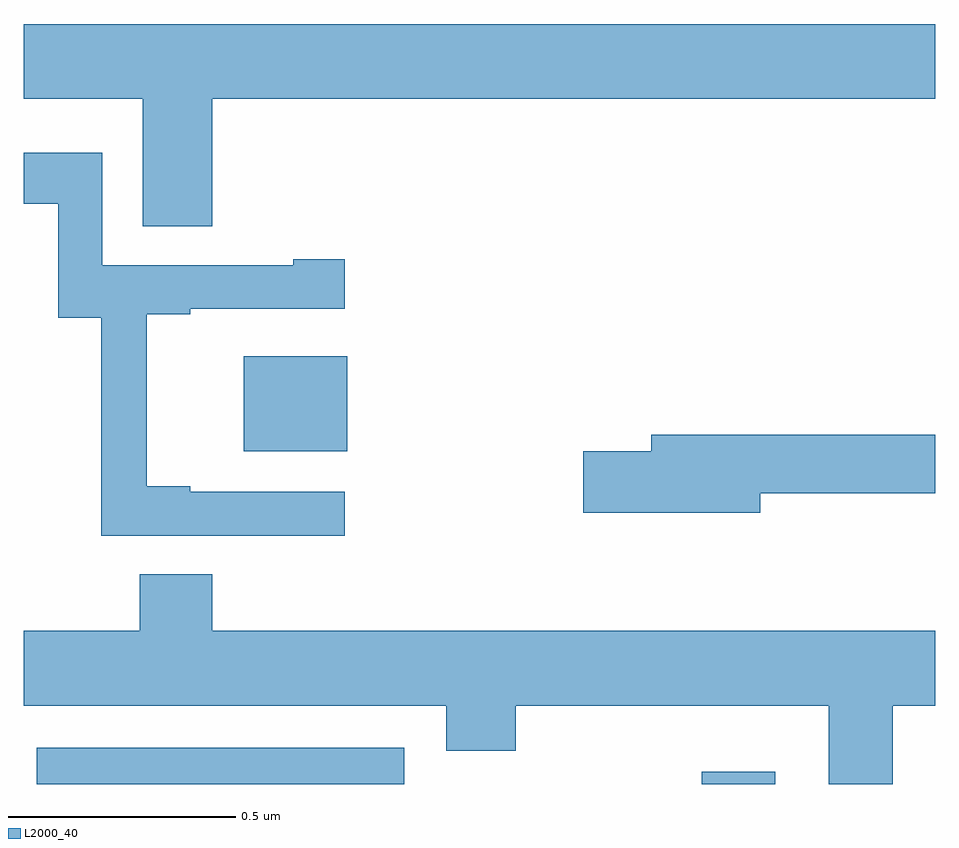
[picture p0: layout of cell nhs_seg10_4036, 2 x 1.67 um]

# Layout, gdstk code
import gdstk
lib = gdstk.Library(unit=1e-6, precision=1e-09)
def R(c, l, rs):  # rectangles x0, y0, x1, y1
    for r in rs: c.add(gdstk.rectangle(r[:2], r[2:], *l))
def P(c, l, *ps):  # polygons
    for p in ps: c.add(gdstk.Polygon(p, *l))
L2000_40 = (2000, 40)

nhs_seg10_4036 = lib.new_cell('nhs_seg10_4036')
R(nhs_seg10_4036, L2000_40, [(161.028,1277.5,161.835,1277.58), (162.488,1277.5,162.649,1277.527), (161.483,1278.23,161.71,1278.439)])
P(nhs_seg10_4036, L2000_40, [(161,1279.004),(161.261,1279.004),(161.261,1278.724),(161.414,1278.724),(161.414,1279.004),(163,1279.004),(163,1279.168),(161,1279.168)],
  [(161.704,1278.141),(161.365,1278.141),(161.365,1278.154),(161.27,1278.154),(161.27,1278.531),(161.365,1278.531),(161.365,1278.543),(161.704,1278.543),(161.704,1278.652),(161.591,1278.652),(161.591,1278.639),(161.172,1278.639),(161.172,1278.885),(161,1278.885),(161,1278.774),(161.075,1278.774),(161.075,1278.523),(161.17,1278.523),(161.17,1278.045),(161.704,1278.045)],
  [(162.616,1278.138),(163,1278.138),(163,1278.266),(162.377,1278.266),(162.377,1278.23),(162.228,1278.23),(162.228,1278.095),(162.616,1278.095)],
  [(162.907,1277.672),(163,1277.672),(163,1277.836),(161.414,1277.836),(161.414,1277.96),(161.254,1277.96),(161.254,1277.836),(161,1277.836),(161,1277.672),(161.927,1277.672),(161.927,1277.573),(162.08,1277.573),(162.08,1277.672),(162.767,1277.672),(162.767,1277.5),(162.907,1277.5)])

lib.write_gds('nhs_seg10_4036.gds')
